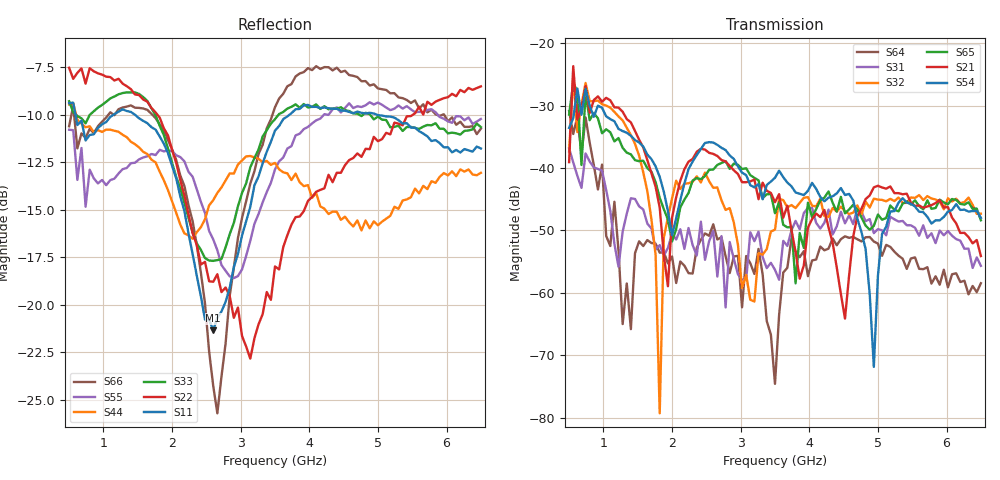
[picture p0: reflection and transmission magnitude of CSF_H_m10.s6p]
!Keysight Technologies,M9804A,MY58100912,A.14.10.03
!Date: Thursday, April 27, 2023 10:28:33
!Correction: S11(C  6-Port  )
!S12(C  6-Port  )
!S13(C  6-Port  )
!S14(C  6-Port  )
!S15(C  6-Port  )
!S16(C  6-Port  )
!S21(C  6-Port  )
!S22(C  6-Port  )
!S23(C  6-Port  )
!S24(C  6-Port  )
!S25(C  6-Port  )
!S26(C  6-Port  )
!S31(C  6-Port  )
!S32(C  6-Port  )
!S33(C  6-Port  )
!S34(C  6-Port  )
!S35(C  6-Port  )
!S36(C  6-Port  )
!S41(C  6-Port  )
!S42(C  6-Port  )
!S43(C  6-Port  )
!S44(C  6-Port  )
!S45(C  6-Port  )
!S46(C  6-Port  )
!S51(C  6-Port  )
!S52(C  6-Port  )
!S53(C  6-Port  )
!S54(C  6-Port  )
!S55(C  6-Port  )
!S56(C  6-Port  )
!S61(C  6-Port  )
!S62(C  6-Port  )
!S63(C  6-Port  )
!S64(C  6-Port  )
!S65(C  6-Port  )
!S66(C  6-Port  )
!S6P File: Measurement: :
# Hz S  RI  R 50
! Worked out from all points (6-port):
!   101 points, 500 MHz to 6.5 GHz, reference 50 ohm
!   strongest paths, dB at 500 MHz, 2 GHz, 3.5 GHz, 5 GHz, 6.5 GHz:
!     S54: -33.6, -50.8, -41.6, -57.2, -48.0
!     S21: -39.1, -48.0, -45.5, -42.8, -54.1
!     S65: -31.4, -51.8, -47.2, -47.5, -48.4
!     S32: -37.4, -44.9, -49.9, -45.1, -47.3
!     S31: -36.9, -50.6, -56.3, -49.8, -55.7
!     S64: -30.9, -54.2, -74.6, -52.1, -58.5
!   lowest |S11| = -21.4 dB at 2.6 GHz (marker M1), VSWR 1.19, Z = 42.4 + j2.29 ohm
!   |S11| at or under -10 dB: 592.4 MHz to 1.146 GHz (553.3 MHz wide, 63.7 % of centre); 1.46 GHz to 3.71 GHz (2.25 GHz wide, 87.1 % of centre); 4.987 GHz to end of sweep
